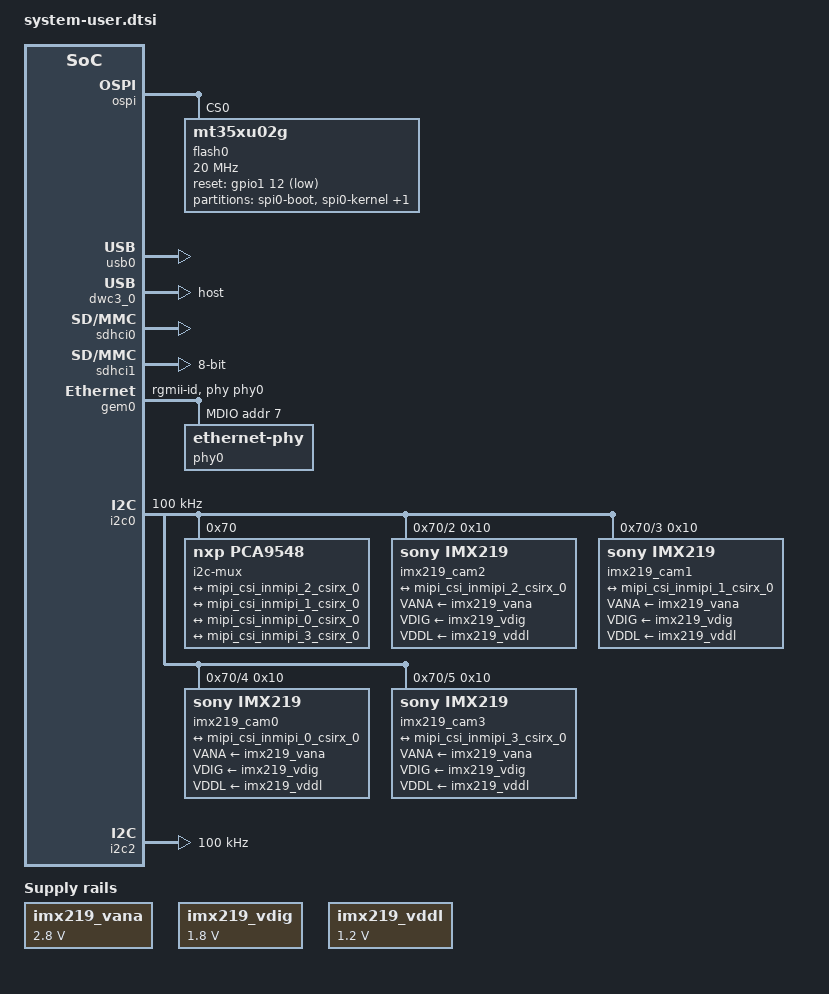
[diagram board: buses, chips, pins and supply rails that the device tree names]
#include "include/dt-bindings/gpio/gpio.h"
#include "include/dt-bindings/phy/phy.h"
#include "include/dt-bindings/input/input.h"

/ {
	chosen {
		bootargs = "console=ttyAMA0 earlycon=pl011,mmio32,0xFF000000,115200n8 root=/dev/mmcblk1p2 rw rootwait";
		stdout-path = "serial0:115200";
	};

	aliases {
		serial0 = &serial0;
/*		serial2 = &dcc;*/
		i2c0 = &i2c0;
		i2c2 = &i2c2;
		mmc0 = &sdhci1;
		mmc1 = &sdhci0;
		spi0 = &ospi;
		usb0 = &usb0;
		rtc0 = &rtc;
/*		nvmem0 = &eeprom;*/
	};
};

/* SD_BUSPWR - PMC MIO49 */
/* PMC_LED_2 - PMC MIO48 */
/* PMC_LED_1 - PMC MIO47 */
/* PMC_PB_2 - PMC MIO46 */
/* PMC_PB_1 - PMC MIO37 */
/* PMC_I2C_EXP_RST_B - MIO28 */
/* PMC_INT_B - MIO11 */


&ospi { /* PMC MIO0-10, 12, U3 MT35XU02G or MT35X512M */
	bus-num = <2>;
	num-cs = <1>;
	#stream-id-cells = <1>;
	#address-cells = <1>;
	#size-cells = <0>;

	flash0:flash@0 {
		compatible = "mt35xu02g", "micron,m25p80", "jedec,spi-nor";
		reg = <0>;
		#address-cells = <1>;
		#size-cells = <1>;
		cdns,read-delay = <0>;
		cdns,tshsl-ns = <0>;
		cdns,tsd2d-ns = <0>;
		cdns,tchsh-ns = <1>;
		cdns,tslch-ns = <1>;
		spi-tx-bus-width = <8>;
		spi-rx-bus-width = <8>;
		spi-max-frequency = <20000000>;
		no-wp;
		reset-gpios = <&gpio1 12 GPIO_ACTIVE_LOW>;
		partition@0 {
			label = "spi0-boot";
			reg = <0x00000000 0x00f40000>;
		};
		partition@1 {
			label = "spi0-kernel";
			reg = <0x00f40000 0x01e00000>;
		};
		partition@2 {
			label = "spi0-bootenv";
			reg = <0x02d40000 0x00040000>;
		};
	};
};

&usb0 {
	status = "okay";
};

&dwc3_0 { /* USB 2.0 host */
	status = "okay";
	dr_mode = "host";
	maximum-speed = "high-speed";
	snps,dis_u2_susphy_quirk;
	snps,dis_u3_susphy_quirk;
	snps,usb3_lpm_capable;
};

&sdhci0 { /* PMC_MIO38-45/49 */
	status = "okay";
	xlnx,mio-bank = <1>;
	no-1-8-v;
};

&sdhci1 { /* PMC_MIO26-27/29-36 */
	status = "okay";
	bus-width = <8>;
};

&gem0 { /* PMC_MIO_48, LPD_MIO0-11/24/25 */
	status = "okay";
	phy-handle = <&phy0>;
	phy-mode = "rgmii-id";
	mdio: mdio {
		#address-cells = <1>;
		#size-cells = <0>;
		phy0: ethernet-phy@7 { /* U7 - KSZ9131RNXI */
			#phy-cells = <1>;
			reg = <0x7>;
		};
	};
};

&i2c0 { 
	status = "okay";
	bootph-all;
	clock-frequency = <100000>;

/*	eeprom: eeprom@54 { 
		compatible = "atmel,24mac402";
		reg = <0x54>; 
		bootph-all;
		mac_address: mac-address@9A {
			reg <0x9A 0x06>;
		};
	}; */
};

&i2c2 { 
	status = "okay";
	bootph-all;
	clock-frequency = <100000>;
};

&amba_pl {
	imx219_clk: imx219_clk {
		#clock-cells = <0x0>;
		clock-frequency = <24000000>;
		compatible = "fixed-clock";
	};

	imx219_vana: fixedregulator@3 {
		compatible = "regulator-fixed";
		regulator-name = "imx219_vana";
		regulator-min-microvolt = <2800000>;
		regulator-max-microvolt = <2800000>;
		enable-active-high;
	};

	imx219_vdig: fixedregulator@4 {
		compatible = "regulator-fixed";
		regulator-name = "imx219_vdig";
		regulator-min-microvolt = <1800000>;
		regulator-max-microvolt = <1800000>;
	};

	imx219_vddl: fixedregulator@5 {
		compatible = "regulator-fixed";
		regulator-name = "imx219_vddl";
		regulator-min-microvolt = <1200000>;
		regulator-max-microvolt = <1200000>;
	};		

};

&i2c0 {
	status = "okay";
	i2c-mux@70 {
		compatible = "nxp,pca9548";
		status = "okay";
		#address-cells = <1>;
		#size-cells = <0>;
		reg = <0x70>;

		i2c@0 { /* SFP0 */
			#address-cells = <1>;
			#size-cells = <0>;
			reg = <0>;
		};
		i2c@1 { /* SFP1 */
			#address-cells = <1>;
			#size-cells = <0>;
			reg = <1>;
		};
		i2c@2 { /* MIPI4 - RPI-CAM2 */
			#address-cells = <1>;
			#size-cells = <0>;
			reg = <2>;
			imx219_cam2: sensor@10 {
				compatible = "sony,imx219";
				reg = <0x10>;
				clocks = <&imx219_clk>;
				VANA-supply = <&imx219_vana>;   /* 2.8v */
				VDIG-supply = <&imx219_vdig>;   /* 1.8v */
				VDDL-supply = <&imx219_vddl>;   /* 1.2v */

				port {
				     imx219_cam2_0: endpoint {
					remote-endpoint = <&mipi_csi_inmipi_2_csirx_0>;
					data-lanes = <1 2>;
					link-frequencies = /bits/ 64 <456000000>;
					};
				};
			};

		};
		i2c@3 { /* MIPI3 - RPI-CAM1 */
			#address-cells = <1>;
			#size-cells = <0>;
			reg = <3>;
			imx219_cam1: sensor@10 {
				compatible = "sony,imx219";
				reg = <0x10>;
				clocks = <&imx219_clk>;
				VANA-supply = <&imx219_vana>;   /* 2.8v */
				VDIG-supply = <&imx219_vdig>;   /* 1.8v */
				VDDL-supply = <&imx219_vddl>;   /* 1.2v */

				port {
				     imx219_cam1_0: endpoint {
					remote-endpoint = <&mipi_csi_inmipi_1_csirx_0>;
					data-lanes = <1 2>;
					link-frequencies = /bits/ 64 <456000000>;
					};
				};
			};
		};
		i2c@4 { /* MIPI2 - RPI-CAM0 */
			#address-cells = <1>;
			#size-cells = <0>;
			reg = <4>;
			imx219_cam0: sensor@10 {
				compatible = "sony,imx219";
				reg = <0x10>;
				clocks = <&imx219_clk>;
				VANA-supply = <&imx219_vana>;   /* 2.8v */
				VDIG-supply = <&imx219_vdig>;   /* 1.8v */
				VDDL-supply = <&imx219_vddl>;   /* 1.2v */

				port {
				     imx219_cam0_0: endpoint {
					remote-endpoint = <&mipi_csi_inmipi_0_csirx_0>;
					data-lanes = <1 2>;
					link-frequencies = /bits/ 64 <456000000>;
					};
				};
			};
		};
		i2c@5 { /* MIPI5 - RPI-CAM3 */
			#address-cells = <1>;
			#size-cells = <0>;
			reg = <5>;
			imx219_cam3: sensor@10 {
				compatible = "sony,imx219";
				reg = <0x10>;
				clocks = <&imx219_clk>;
				VANA-supply = <&imx219_vana>;   /* 2.8v */
				VDIG-supply = <&imx219_vdig>;   /* 1.8v */
				VDDL-supply = <&imx219_vddl>;   /* 1.2v */

				port {
				     imx219_cam3_0: endpoint {
					remote-endpoint = <&mipi_csi_inmipi_3_csirx_0>;
					data-lanes = <1 2>;
					link-frequencies = /bits/ 64 <456000000>;
					};
				};
			};
		};
		i2c@6 { /* MIPI0 */
			#address-cells = <1>;
			#size-cells = <0>;
			reg = <6>;
		};
		i2c@7 { /* MIPI1 */
			#address-cells = <1>;
			#size-cells = <0>;
			reg = <7>;
		};
	};
};


#include "pl-custom.dtsi"
#include "mipi-0.dtsi"
#include "mipi-1.dtsi"
#include "mipi-2.dtsi"
#include "mipi-3.dtsi"
//#include "display.dtsi"









